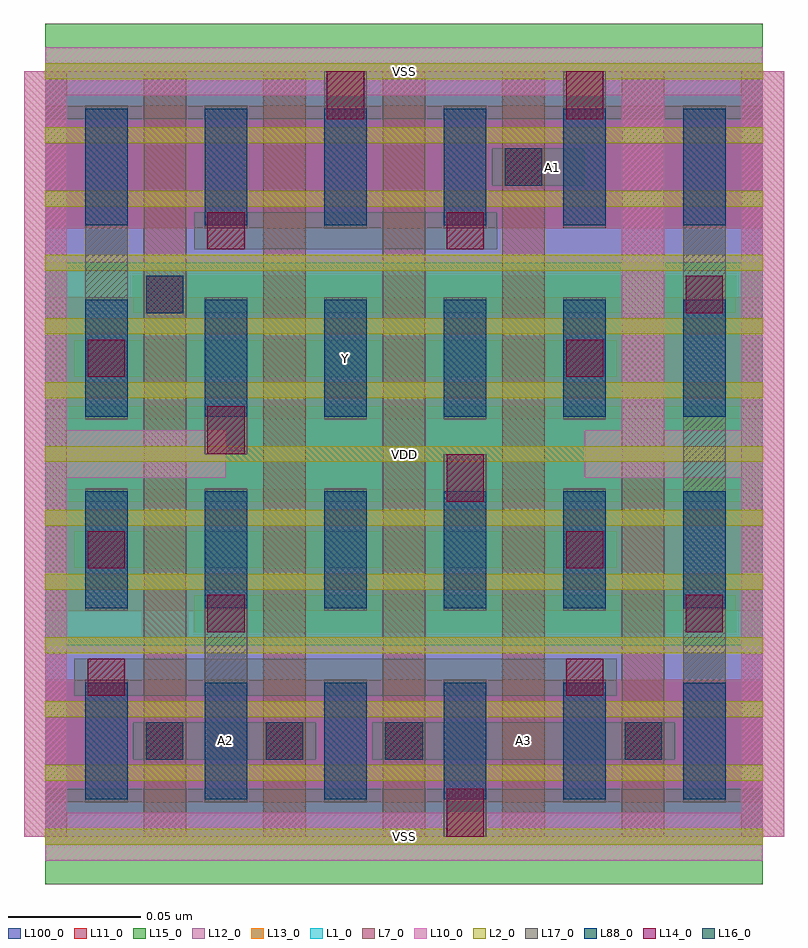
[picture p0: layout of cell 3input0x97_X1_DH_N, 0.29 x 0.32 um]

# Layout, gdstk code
import gdstk
lib = gdstk.Library(unit=1e-6, precision=1e-09)
def R(c, l, rs):  # rectangles x0, y0, x1, y1
    for r in rs: c.add(gdstk.rectangle(r[:2], r[2:], *l))
def A(c, l, x, y, w, h, nx, ny, dx, dy):  # array of equal rectangles
    R(c, l, [(x+i*dx, y+j*dy, x+i*dx+w, y+j*dy+h) for i in range(nx) for j in range(ny)])
def P(c, l, *ps):  # polygons
    for p in ps: c.add(gdstk.Polygon(p, *l))
L1_0 = (1, 0)
L2_0 = (2, 0)
L7_0 = (7, 0)
L10_0 = (10, 0)
L11_0 = (11, 0)
L12_0 = (12, 0)
L13_0 = (13, 0)
L14_0 = (14, 0)
L15_0 = (15, 0)
L16_0 = (16, 0)
L17_0 = (17, 0)
L88_0 = (88, 0)
L100_0 = (100, 0)

c_3input0x97_x1_dh_n = lib.new_cell('3input0x97_X1_DH_N')
R(c_3input0x97_x1_dh_n, L1_0, [(0,0.072,0.27,0.144), (0,0.144,0.27,0.216)])
A(c_3input0x97_x1_dh_n, L2_0, 0, -0.003, 0.27, 0.006, 1, 13, 0, 0.024)
A(c_3input0x97_x1_dh_n, L7_0, -0.008, 0, 0.016, 0.288, 7, 1, 0.045, 0)
P(c_3input0x97_x1_dh_n, L10_0, [(0,-0.009),(0,0),(-0.008,0),(-0.008,0.279),(0.008,0.279),(0.008,0.153),(0.068,0.153),(0.068,0.135),(0.008,0.135),(0.008,0.009),(0.262,0.009),(0.262,0.135),(0.203,0.135),(0.203,0.153),(0.217,0.153),(0.217,0.279),(0.233,0.279),(0.233,0.153),(0.262,0.153),(0.262,0.279),(-0.008,0.279),(-0.008,0.288),(0,0.288),(0,0.297),(0.27,0.297),(0.27,0.288),(0.278,0.288),(0.278,0),(0.27,0),(0.27,-0.009)])
A(c_3input0x97_x1_dh_n, L11_0, 0, 0.013, 0.27, 0.046, 1, 4, 0, 0.072)
R(c_3input0x97_x1_dh_n, L12_0, [(0,0,0.27,0.072), (0,0.216,0.27,0.288)])
R(c_3input0x97_x1_dh_n, L13_0, [(0,0.072,0.27,0.144), (0,0.144,0.27,0.216)])
A(c_3input0x97_x1_dh_n, L14_0, 0.038, 0.029, 0.014, 0.014, 3, 1, 0.045, 0)
R(c_3input0x97_x1_dh_n, L14_0, [(0.151,0,0.165,0.018), (0.218,0.029,0.232,0.043), (0.016,0.053,0.03,0.067), (0.196,0.053,0.21,0.067), (0.061,0.077,0.075,0.091), (0.241,0.077,0.255,0.091), (0.016,0.101,0.03,0.115), (0.196,0.101,0.21,0.115), (0.151,0.126,0.165,0.144), (0.061,0.144,0.075,0.162), (0.016,0.173,0.03,0.187), (0.196,0.173,0.21,0.187), (0.038,0.197,0.052,0.211), (0.241,0.197,0.255,0.211), (0.061,0.221,0.075,0.235), (0.151,0.221,0.165,0.235), (0.173,0.245,0.187,0.259), (0.106,0.27,0.12,0.288), (0.196,0.27,0.21,0.288)])
A(c_3input0x97_x1_dh_n, L15_0, 0, -0.018, 0.27, 0.036, 1, 3, 0, 0.144)
R(c_3input0x97_x1_dh_n, L15_0, [(0.033,0.029,0.102,0.043), (0.123,0.029,0.237,0.043), (0.011,0.053,0.215,0.067), (0.056,0.077,0.26,0.091), (0.011,0.101,0.215,0.115), (0.011,0.173,0.215,0.187), (0.033,0.197,0.26,0.211), (0.056,0.221,0.17,0.235), (0.168,0.245,0.203,0.259)])
A(c_3input0x97_x1_dh_n, L16_0, 0.038, 0.029, 0.014, 0.014, 3, 1, 0.045, 0)
R(c_3input0x97_x1_dh_n, L16_0, [(0.218,0.029,0.232,0.043), (0.038,0.197,0.052,0.211), (0.173,0.245,0.187,0.259)])
A(c_3input0x97_x1_dh_n, L17_0, 0.015, 0.013, 0.016, 0.046, 3, 2, 0.09, 0.072)
A(c_3input0x97_x1_dh_n, L17_0, 0.105, 0.157, 0.016, 0.046, 3, 1, 0.045, 0)
R(c_3input0x97_x1_dh_n, L17_0, [(0.15,0,0.166,0.059), (0.06,0.013,0.076,0.131), (0.24,0.013,0.256,0.275), (0.15,0.085,0.166,0.144), (0.06,0.144,0.076,0.203), (0.015,0.157,0.031,0.275), (0.06,0.229,0.076,0.275), (0.105,0.229,0.121,0.288), (0.15,0.229,0.166,0.275), (0.195,0.229,0.211,0.288)])
A(c_3input0x97_x1_dh_n, L88_0, 0.015, 0.014, 0.016, 0.044, 6, 4, 0.045, 0.072)
R(c_3input0x97_x1_dh_n, L100_0, [(0,0,0.27,0.288)])
c_3input0x97_x1_dh_n.add(gdstk.Label('A1', (0.191,0.252), layer=15, texttype=251))
c_3input0x97_x1_dh_n.add(gdstk.Label('VSS', (0.135,0), layer=15, texttype=251))
c_3input0x97_x1_dh_n.add(gdstk.Label('VDD', (0.135,0.144), layer=15, texttype=251))
c_3input0x97_x1_dh_n.add(gdstk.Label('VDD', (0.135,0.144), layer=15, texttype=251))
c_3input0x97_x1_dh_n.add(gdstk.Label('VSS', (0.135,0.288), layer=15, texttype=251))
c_3input0x97_x1_dh_n.add(gdstk.Label('A3', (0.18,0.036), layer=15, texttype=251))
c_3input0x97_x1_dh_n.add(gdstk.Label('VSS', (0.135,0), layer=15, texttype=251))
c_3input0x97_x1_dh_n.add(gdstk.Label('VDD', (0.135,0.144), layer=15, texttype=251))
c_3input0x97_x1_dh_n.add(gdstk.Label('VDD', (0.135,0.144), layer=15, texttype=251))
c_3input0x97_x1_dh_n.add(gdstk.Label('VSS', (0.135,0.288), layer=15, texttype=251))
c_3input0x97_x1_dh_n.add(gdstk.Label('Y', (0.113,0.18), layer=15, texttype=251))
c_3input0x97_x1_dh_n.add(gdstk.Label('VSS', (0.135,0), layer=15, texttype=251))
c_3input0x97_x1_dh_n.add(gdstk.Label('VDD', (0.135,0.144), layer=15, texttype=251))
c_3input0x97_x1_dh_n.add(gdstk.Label('VDD', (0.135,0.144), layer=15, texttype=251))
c_3input0x97_x1_dh_n.add(gdstk.Label('VSS', (0.135,0.288), layer=15, texttype=251))
c_3input0x97_x1_dh_n.add(gdstk.Label('A2', (0.068,0.036), layer=15, texttype=251))
c_3input0x97_x1_dh_n.add(gdstk.Label('VSS', (0.135,0), layer=15, texttype=251))
c_3input0x97_x1_dh_n.add(gdstk.Label('VDD', (0.135,0.144), layer=15, texttype=251))
c_3input0x97_x1_dh_n.add(gdstk.Label('VDD', (0.135,0.144), layer=15, texttype=251))
c_3input0x97_x1_dh_n.add(gdstk.Label('VSS', (0.135,0.288), layer=15, texttype=251))
c_3input0x97_x1_dh_n.add(gdstk.Label('VSS', (0.135,0), layer=3, texttype=251))
c_3input0x97_x1_dh_n.add(gdstk.Label('VSS', (0.135,0.288), layer=3, texttype=251))
c_3input0x97_x1_dh_n.add(gdstk.Label('VSS', (0.135,0), layer=3, texttype=251))
c_3input0x97_x1_dh_n.add(gdstk.Label('VSS', (0.135,0.288), layer=3, texttype=251))
c_3input0x97_x1_dh_n.add(gdstk.Label('VSS', (0.135,0), layer=3, texttype=251))
c_3input0x97_x1_dh_n.add(gdstk.Label('VSS', (0.135,0.288), layer=3, texttype=251))
c_3input0x97_x1_dh_n.add(gdstk.Label('VSS', (0.135,0), layer=3, texttype=251))
c_3input0x97_x1_dh_n.add(gdstk.Label('VSS', (0.135,0.288), layer=3, texttype=251))
c_3input0x97_x1_dh_n.add(gdstk.Label('VDD', (0.135,0.144), layer=1, texttype=251))
c_3input0x97_x1_dh_n.add(gdstk.Label('VDD', (0.135,0.144), layer=1, texttype=251))
c_3input0x97_x1_dh_n.add(gdstk.Label('VDD', (0.135,0.144), layer=1, texttype=251))
c_3input0x97_x1_dh_n.add(gdstk.Label('VDD', (0.135,0.144), layer=1, texttype=251))
c_3input0x97_x1_dh_n.add(gdstk.Label('VDD', (0.135,0.144), layer=1, texttype=251))
c_3input0x97_x1_dh_n.add(gdstk.Label('VDD', (0.135,0.144), layer=1, texttype=251))
c_3input0x97_x1_dh_n.add(gdstk.Label('VDD', (0.135,0.144), layer=1, texttype=251))
c_3input0x97_x1_dh_n.add(gdstk.Label('VDD', (0.135,0.144), layer=1, texttype=251))

lib.write_gds('3input0x97_X1_DH_N.gds')
